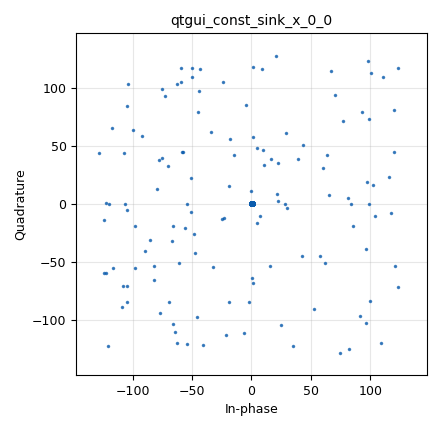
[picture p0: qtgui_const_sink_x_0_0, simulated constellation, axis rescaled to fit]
options:
  parameters:
    author: cristovaozr
    generate_options: qt_gui
    id: test_bpsk
    output_language: python
    title: Not titled yet
  states: {}

blocks:
- name: samp_rate
  id: variable
  parameters:
    value: '32000'
  states: {}
- name: analog_const_source_x_0
  id: analog_const_source_x
  parameters:
    const: '0'
    type: float
  states: {state: disabled}
- name: analog_noise_source_x_0
  id: analog_noise_source_x
  parameters:
    amp: '.1'
    noise_type: analog.GR_GAUSSIAN
    seed: '0'
    type: complex
  states: {}
- name: analog_random_uniform_source_x_0
  id: analog_random_uniform_source_x
  parameters:
    maximum: '2'
    minimum: '0'
    seed: '0'
    type: byte
  states: {}
- name: blocks_add_const_vxx_0
  id: blocks_add_const_vxx
  parameters:
    const: '-1'
    type: float
  states: {state: disabled}
- name: blocks_add_xx_0
  id: blocks_add_xx
  parameters:
    type: complex
  states: {}
- name: blocks_add_xx_0_0
  id: blocks_add_xx
  parameters:
    type: complex
  states: {}
- name: blocks_char_to_float_0
  id: blocks_char_to_float
  parameters:
    scale: '.5'
  states: {state: disabled}
- name: blocks_float_to_complex_0
  id: blocks_float_to_complex
  parameters: {}
  states: {state: disabled}
- name: blocks_interleaved_char_to_complex_0
  id: blocks_interleaved_char_to_complex
  parameters:
    scale_factor: '1.0'
    vector_input: 'False'
  states: {}
- name: blocks_null_sink_0
  id: blocks_null_sink
  parameters:
    type: complex
  states: {}
- name: blocks_null_source_0
  id: blocks_null_source
  parameters:
    type: complex
  states: {}
- name: blocks_stream_to_vector_0
  id: blocks_stream_to_vector
  parameters:
    num_items: '223'
    type: byte
  states: {}
- name: blocks_stream_to_vector_0_1
  id: blocks_stream_to_vector
  parameters:
    num_items: '223'
    type: byte
  states: {}
- name: blocks_throttle2_0
  id: blocks_throttle2
  parameters:
    samples_per_second: samp_rate
    type: complex
  states: {}
- name: blocks_vector_to_stream_0
  id: blocks_vector_to_stream
  parameters:
    num_items: '255'
    type: byte
  states: {}
- name: blocks_vector_to_stream_0_0
  id: blocks_vector_to_stream
  parameters:
    num_items: '255'
    type: byte
  states: {}
- name: dtv_dvbt_reed_solomon_enc_0
  id: dtv_dvbt_reed_solomon_enc
  parameters:
    blocks: '1'
    gfpoly: '0x11d'
    k: '223'
    m: '8'
    n: '255'
    p: '2'
    s: '0'
    t: '16'
  states: {}
- name: dtv_dvbt_reed_solomon_enc_0_0
  id: dtv_dvbt_reed_solomon_enc
  parameters:
    blocks: '1'
    gfpoly: '0x11d'
    k: '223'
    m: '8'
    n: '255'
    p: '2'
    s: '0'
    t: '16'
  states: {}
- name: epy_block_0
  id: epy_block
  parameters:
    _source_code: |
      """
      Embedded Python Blocks:

      Each time this file is saved, GRC will instantiate the first class it finds
      to get ports and parameters of your block. The arguments to __init__  will
      be the parameters. All of them are required to have default values!
      """

      import numpy as np
      from gnuradio import gr


      class BPSK_Encoder_Block(gr.sync_block):  # other base classes are basic_block, decim_block, interp_block
          """Embedded Python Block example - a simple multiply const"""

          def __init__(self, example_param=1.0):  # only default arguments here
              """arguments to this function show up as parameters in GRC"""
              gr.sync_block.__init__(
                  self,
                  name='Embedded Python Block',   # will show up in GRC
                  in_sig=[np.byte],
                  out_sig=[np.complex64]
              )
              # if an attribute with the same name as a parameter is found,
              # a callback is registered (properties work, too).
              self.example_param = example_param

          def work(self, input_items, output_items):
              """example: multiply with constant"""
              
              for i, item in enumerate(input_items):
                  if item == 0:
                      output_items[0][i] = -1.0
                  else:
                      output_items[0][i] = 1.0

              return len(output_items[0])
    example_param: '1.0'
  states: {}
- name: qtgui_const_sink_x_0
  id: qtgui_const_sink_x
  parameters:
    size: '1024'
    type: complex
  states: {}
- name: qtgui_const_sink_x_0_0
  id: qtgui_const_sink_x
  parameters:
    size: '1024'
    type: complex
  states: {}
- name: virtual_sink_0
  id: virtual_sink
  parameters:
    stream_id: noise
  states: {}
- name: virtual_source_0
  id: virtual_source
  parameters:
    stream_id: noise
  states: {}
- name: virtual_source_0_0
  id: virtual_source
  parameters:
    stream_id: noise
  states: {}

connections:
- [analog_const_source_x_0, '0', blocks_float_to_complex_0, '1']
- [analog_noise_source_x_0, '0', virtual_sink_0, '0']
- [analog_random_uniform_source_x_0, '0', blocks_stream_to_vector_0, '0']
- [analog_random_uniform_source_x_0, '0', blocks_stream_to_vector_0_1, '0']
- [blocks_add_const_vxx_0, '0', blocks_float_to_complex_0, '0']
- [blocks_add_xx_0, '0', qtgui_const_sink_x_0, '0']
- [blocks_add_xx_0_0, '0', qtgui_const_sink_x_0_0, '0']
- [blocks_char_to_float_0, '0', blocks_add_const_vxx_0, '0']
- [blocks_float_to_complex_0, '0', blocks_add_xx_0, '0']
- [blocks_interleaved_char_to_complex_0, '0', blocks_add_xx_0_0, '0']
- [blocks_null_source_0, '0', blocks_throttle2_0, '0']
- [blocks_stream_to_vector_0, '0', dtv_dvbt_reed_solomon_enc_0, '0']
- [blocks_stream_to_vector_0_1, '0', dtv_dvbt_reed_solomon_enc_0_0, '0']
- [blocks_throttle2_0, '0', blocks_null_sink_0, '0']
- [blocks_vector_to_stream_0, '0', blocks_char_to_float_0, '0']
- [blocks_vector_to_stream_0, '0', epy_block_0, '0']
- [blocks_vector_to_stream_0_0, '0', blocks_interleaved_char_to_complex_0, '0']
- [dtv_dvbt_reed_solomon_enc_0, '0', blocks_vector_to_stream_0, '0']
- [dtv_dvbt_reed_solomon_enc_0_0, '0', blocks_vector_to_stream_0_0, '0']
- [epy_block_0, '0', blocks_add_xx_0, '0']
- [virtual_source_0, '0', blocks_add_xx_0, '1']
- [virtual_source_0_0, '0', blocks_add_xx_0_0, '1']

metadata:
  file_format: 1
  grc_version: 3.10.8.0
